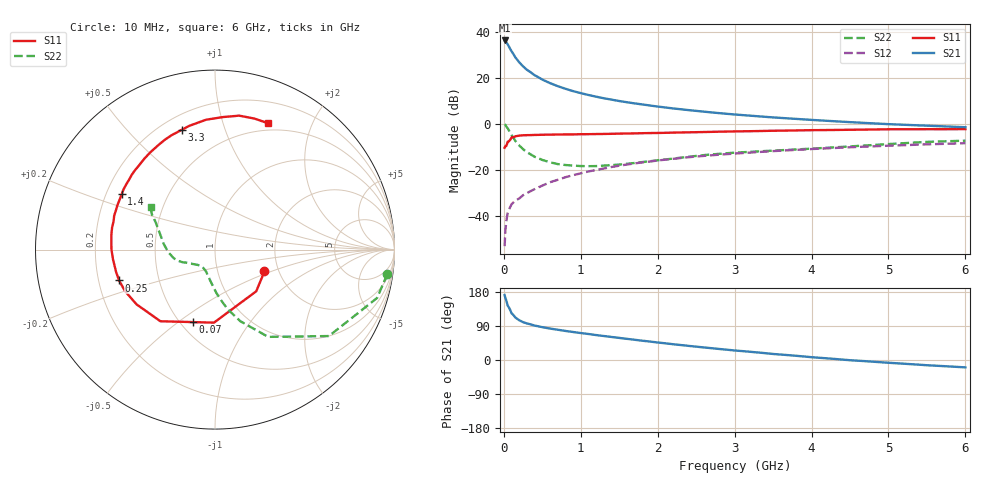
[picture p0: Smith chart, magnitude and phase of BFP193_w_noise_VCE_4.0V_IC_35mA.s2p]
! Infineon Technologies  Discrete & RF Semiconductors
! BFP193
! VCE =  4.0 V,  IC =  35 mA
! Common Emitter S-Parameters:  Jan 2017
# GHz  S  MA  R  50
!  f  S11  S21  S12  S22
! GHz  MAG  ANG  MAG  ANG  MAG  ANG  MAG  ANG
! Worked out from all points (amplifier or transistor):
!   77 points, 10 MHz to 6 GHz, reference 50 ohm
!   highest |S21| = 36.2 dB at 10 MHz (marker M1)
!   |S21| within 3 dB of that: start of sweep to 71.91 MHz
!   unconditionally stable (mu >= 1): 664.5 MHz to 2.408 GHz
!   at 130 MHz: K = 0.53, MSG = 32.0 dB, |S12| = -34.0 dB
!   at 2.2 GHz: K = 1.01, MAG = 10.3 dB, |S12| = -15.2 dB
!   at 6 GHz: K = 0.92, MSG = 3.5 dB, |S12| = -8.4 dB
!   lowest NFmin = 1.29 dB at 450 MHz
!   S11 on the Smith chart (normalised r, x): 10 MHz: 1.69, -0.45; 70 MHz: 0.57, -0.57; 250 MHz: 0.29, -0.14; 1.4 GHz: 0.26, +0.26; 3.3 GHz: 0.28, +0.72; 6 GHz: 0.42, +1.42
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0.01  0.3012 -23.8  64.21 171.5  0.0022 87.0  0.9699 -8.1
0.02  0.3267 -45.3  63.25 163.8  0.0048 86.4  0.9425 -16.6
0.05  0.407 -90.8  52.89 143.6  0.0116 68.2  0.7966 -37.2
0.07  0.4228 -107.2  46.08 137.1  0.014 63.7  0.6951 -44.1
0.1  0.5019 -127.3  37.46 123.2  0.0178 59.3  0.5697 -58.6
0.15  0.533 -145.1  27.55 112.0  0.0215 56.4  0.4235 -70.5
0.2  0.552 -155.1  21.56 105.0  0.0239 58.4  0.3377 -78.2
0.25  0.5615 -162.2  17.59 99.9  0.0281 58.4  0.2802 -83.6
0.3  0.565 -167.3  14.82 96.4  0.0311 59.9  0.2406 -88.3
0.4  0.5709 -174.6  11.31 90.8  0.0381 63.0  0.1916 -95.3
0.5  0.5769 179.9  9.086 86.6  0.0453 64.7  0.1638 -101.3
0.6  0.5797 175.3  7.622 83.0  0.0537 65.2  0.1457 -107.0
0.7  0.5835 171.5  6.545 79.9  0.0606 65.8  0.1332 -111.2
0.9  0.5866 164.4  5.106 73.9  0.0765 65.5  0.1235 -119.7
1.1  0.5939 158.2  4.208 68.6  0.0921 64.1  0.1199 -126.7
1.4  0.6043 149.4  3.335 60.8  0.115 61.7  0.1264 -136.6
2.1  0.6353 130.4  2.254 44.0  0.1661 53.7  0.1679 -153.4
3.1  0.6848 108.9  1.542 23.5  0.2306 41.2  0.2404 -170.4
3.3  0.6932 105.3  1.454 19.9  0.2424 38.9  0.2504 -173.8
4.1  0.7273 92.4  1.184 5.9  0.2872 29.6  0.2942 171.2
5.1  0.7583 78.5  0.965 -8.5  0.3382 18.1  0.37 154.5
6  0.7636 67.3  0.84 -19.5  0.3786 8.0  0.4289 146.6
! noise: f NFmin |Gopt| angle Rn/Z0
0.45  1.29  0.37  -172  0.08
0.9  1.35  0.4  -169  0.08
1.9  1.95  0.58  -135  0.18
2.4  2.29  0.62  -120  0.4
